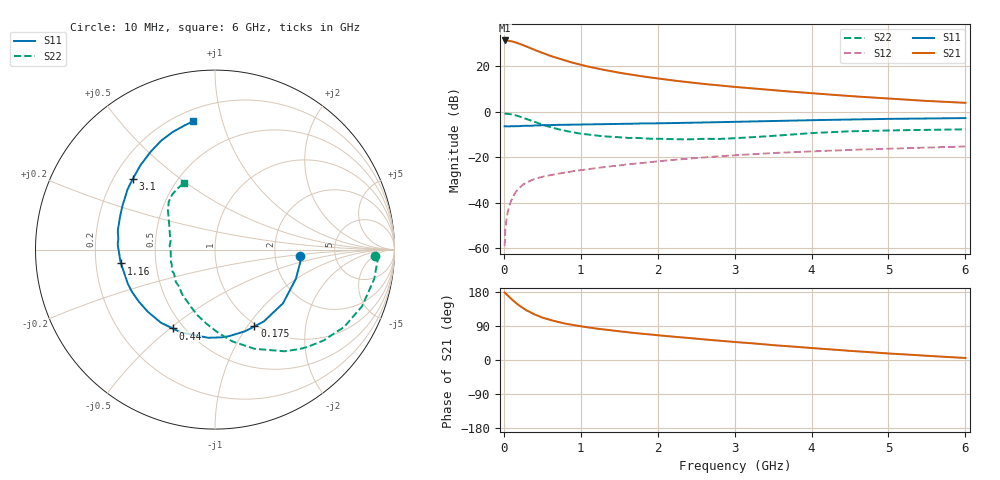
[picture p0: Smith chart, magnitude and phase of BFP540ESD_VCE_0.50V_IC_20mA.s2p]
! Infineon Technologies  Discrete & RF Semiconductors
! BFP540ESD
! VCE = 0.50 V,  IC =  20 mA
! Common Emitter S-Parameters:  Nov 2015
# GHz  S  MA  R  50
!  f  S11  S21  S12  S22
! GHz  MAG  ANG  MAG  ANG  MAG  ANG  MAG  ANG
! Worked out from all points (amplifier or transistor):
!   210 points, 10 MHz to 6 GHz, reference 50 ohm
!   highest |S21| = 31.4 dB at 10 MHz (marker M1)
!   |S21| within 3 dB of that: start of sweep to 318.3 MHz
!   unconditionally stable (mu >= 1): start of sweep to 15.6 MHz; 1.918 GHz to end of sweep
!   at 185 MHz: K = 0.25, MSG = 32.1 dB, |S12| = -34.1 dB
!   at 1.52 GHz: K = 0.93, MSG = 20.3 dB, |S12| = -23.5 dB
!   at 6 GHz: K = 1.15, MAG = 7.3 dB, |S12| = -15.3 dB
!   S11 on the Smith chart (normalised r, x): 10 MHz: 2.80, -0.24; 175 MHz: 0.97, -1.08; 440 MHz: 0.44, -0.51; 1.16 GHz: 0.31, -0.07; 3.1 GHz: 0.28, +0.34; 6 GHz: 0.27, +0.81
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0.01  0.4772 -4.0  37.05 178.0  0.0011 99.8  0.8933 -2.3
0.05  0.4791 -19.9  36.61 170.2  0.0061 83.5  0.9021 -10.4
0.1  0.4827 -38.3  35.57 160.6  0.0115 77.9  0.8784 -21.0
0.15  0.484 -55.8  33.73 151.5  0.0166 72.0  0.8388 -30.9
0.175  0.4808 -62.8  32.6 147.8  0.0188 69.0  0.8112 -35.3
0.2  0.4849 -69.8  31.63 143.8  0.021 66.7  0.7887 -40.0
0.24  0.4883 -80.6  29.69 138.0  0.0241 63.4  0.7477 -46.5
0.3  0.4927 -94.5  27.02 130.3  0.0279 60.0  0.6865 -55.6
0.4  0.4994 -112.5  22.98 120.0  0.0333 54.5  0.5955 -68.2
0.44  0.4986 -118.2  21.64 117.0  0.0347 53.6  0.5628 -72.3
0.5  0.5066 -126.6  19.76 111.9  0.0369 52.3  0.5199 -79.4
0.6  0.5098 -137.1  17.09 105.7  0.0402 50.3  0.4606 -88.3
0.7  0.5138 -145.4  15.06 100.5  0.043 48.9  0.4154 -96.6
0.8  0.5191 -153.1  13.3 95.9  0.0459 48.2  0.3801 -104.6
1.02  0.5222 -165.3  10.6 88.3  0.0521 47.6  0.326 -118.8
1.16  0.529 -171.6  9.347 84.2  0.0561 47.5  0.3059 -127.1
1.5  0.5428 176.7  7.211 75.7  0.0658 46.8  0.2742 -144.4
2.02  0.5578 162.6  5.318 64.8  0.0815 44.5  0.2544 -164.6
3.1  0.6036 139.4  3.407 46.1  0.1125 36.3  0.2671 160.4
4.1  0.6565 121.9  2.482 30.1  0.1361 26.9  0.345 139.3
5.1  0.6986 108.7  1.903 16.1  0.1552 17.7  0.3909 126.4
6  0.7254 99.7  1.572 5.3  0.1721 11.0  0.4099 114.9
